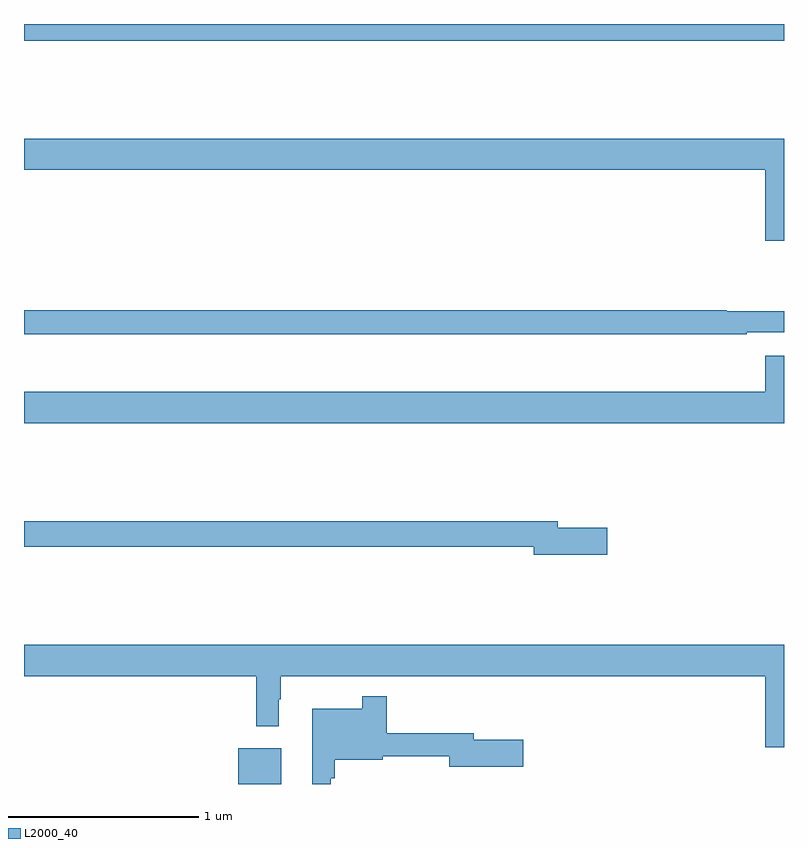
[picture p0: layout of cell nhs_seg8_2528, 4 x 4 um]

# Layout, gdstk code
import gdstk
lib = gdstk.Library(unit=1e-6, precision=1e-09)
def R(c, l, rs):  # rectangles x0, y0, x1, y1
    for r in rs: c.add(gdstk.rectangle(r[:2], r[2:], *l))
def P(c, l, *ps):  # polygons
    for p in ps: c.add(gdstk.Polygon(p, *l))
L2000_40 = (2000, 40)

nhs_seg8_2528 = lib.new_cell('nhs_seg8_2528')
R(nhs_seg8_2528, L2000_40, [(270.128,1147.9,270.355,1148.089), (269,1151.812,273,1151.9)])
P(nhs_seg8_2528, L2000_40, [(273,1151.296),(269,1151.296),(269,1151.132),(272.9,1151.132),(272.9,1150.758),(273,1150.758)],
  [(272.804,1150.278),(273,1150.278),(273,1150.387),(272.699,1150.387),(272.699,1150.394),(269,1150.394),(269,1150.266),(272.804,1150.266)],
  [(273,1150.153),(272.9,1150.153),(272.9,1149.964),(269,1149.964),(269,1149.8),(273,1149.8)],
  [(272.071,1149.248),(271.81,1149.248),(271.81,1149.284),(269,1149.284),(269,1149.148),(271.682,1149.148),(271.682,1149.106),(272.071,1149.106)],
  [(273,1148.632),(269,1148.632),(269,1148.468),(270.223,1148.468),(270.223,1148.205),(270.34,1148.205),(270.34,1148.345),(270.352,1148.345),(270.352,1148.468),(272.9,1148.468),(272.9,1148.094),(273,1148.094)],
  [(270.615,1147.931),(270.635,1147.931),(270.635,1148.027),(270.889,1148.027),(270.889,1148.046),(271.238,1148.046),(271.238,1147.991),(271.627,1147.991),(271.627,1148.133),(271.366,1148.133),(271.366,1148.167),(270.908,1148.167),(270.908,1148.362),(270.78,1148.362),(270.78,1148.296),(270.518,1148.296),(270.518,1147.9),(270.615,1147.9)])

lib.write_gds('nhs_seg8_2528.gds')
